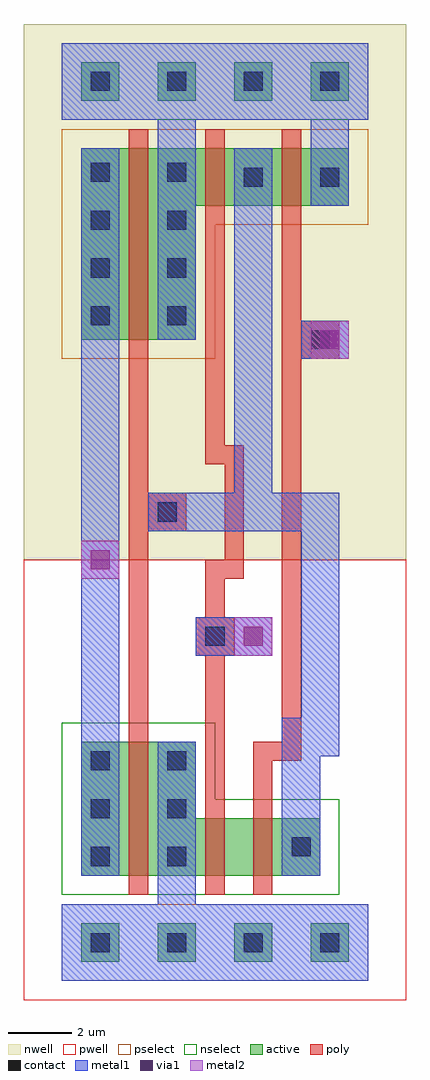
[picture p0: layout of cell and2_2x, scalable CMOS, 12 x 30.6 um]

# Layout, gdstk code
import gdstk
lib = gdstk.Library(unit=1e-6, precision=1e-09)
def R(c, l, rs):  # rectangles x0, y0, x1, y1
    for r in rs: c.add(gdstk.rectangle(r[:2], r[2:], *l))
def A(c, l, x, y, w, h, nx, ny, dx, dy):  # array of equal rectangles
    R(c, l, [(x+i*dx, y+j*dy, x+i*dx+w, y+j*dy+h) for i in range(nx) for j in range(ny)])
contact = (25, 0)
pwell = (41, 0)
nwell = (42, 0)
active = (43, 0)
pselect = (44, 0)
nselect = (45, 0)
poly = (46, 0)
metal1 = (49, 0)
via1 = (50, 0)
metal2 = (51, 0)

and2_2x = lib.new_cell('and2_2x')
A(and2_2x, contact, 0.3, -0.3, 0.6, 0.6, 4, 2, 2.4, 27)
A(and2_2x, contact, 0.3, 2.4, 0.6, 0.6, 1, 3, 0, 1.5)
A(and2_2x, contact, 2.7, 2.4, 0.6, 0.6, 1, 3, 0, 1.5)
A(and2_2x, contact, 0.3, 19.35, 0.6, 0.6, 1, 4, 0, 1.5)
A(and2_2x, contact, 2.7, 19.35, 0.6, 0.6, 1, 4, 0, 1.5)
R(and2_2x, contact, [(6.6,2.7,7.2,3.3), (3.9,9.3,4.5,9.9), (2.4,13.2,3,13.8), (7.2,18.6,7.8,19.2), (5.1,23.7,5.7,24.3), (7.5,23.7,8.1,24.3)])
A(and2_2x, pwell, -0.9, -1.5, 3, 3, 4, 1, 2.4, 0)
R(and2_2x, pwell, [(-1.8,-1.8,10.2,12), (-1.8,0.3,3,8.1), (-1.2,0.3,4.8,8.1), (0.6,0.3,5.4,8.1), (1.2,0.3,7.2,5.7), (2.7,0.3,8.7,5.7), (4.5,0.3,9.3,5.7), (2.325,0.75,7.575,5.25), (0.75,0.9,5.325,5.4), (4.575,0.9,9.15,5.4), (0.675,3,5.25,7.5), (-1.65,3.3,2.925,7.8)])
A(and2_2x, nwell, -0.9, 25.5, 3, 3, 4, 1, 2.4, 0)
R(and2_2x, nwell, [(-1.8,12,10.2,28.8), (-1.8,17.1,3,26.7), (-1.2,17.1,4.8,26.7), (0.6,17.1,5.4,26.7), (-1.65,17.7,2.925,22.2), (0.675,17.7,5.25,22.2), (0.75,21.3,5.325,25.8), (1.2,21.3,7.2,26.7), (3,21.3,7.8,26.7), (3.075,21.3,7.65,25.8), (3.15,21.3,7.65,26.7), (3.225,21.3,7.725,26.7), (3.6,21.3,9.6,26.7), (5.4,21.3,10.2,26.7), (3.15,22.2,7.725,26.7), (5.475,22.2,10.05,26.7)])
A(and2_2x, active, 0, -0.6, 1.2, 1.2, 4, 2, 2.4, 27)
R(and2_2x, active, [(0,2.1,1.2,6.3), (0.6,2.1,3,6.3), (2.4,2.1,3.6,6.3), (3,2.1,5.4,3.9), (4.5,2.1,6.9,3.9), (6.3,2.1,7.5,3.9), (4.125,2.55,5.775,3.45), (2.55,2.7,3.525,3.6), (6.375,2.7,7.35,3.6), (2.475,4.8,3.45,5.7), (0.15,5.1,1.125,6), (0,18.9,1.2,24.9), (0.6,18.9,3,24.9), (2.4,18.9,3.6,24.9), (0.15,19.5,1.125,20.4), (2.475,19.5,3.45,20.4), (2.55,23.1,3.525,24), (3,23.1,5.4,24.9), (4.8,23.1,6,24.9), (4.875,23.1,5.85,24), (4.95,23.1,5.85,24.9), (5.025,23.1,5.925,24.9), (5.4,23.1,7.8,24.9), (7.2,23.1,8.4,24.9), (4.95,24,5.925,24.9), (7.275,24,8.25,24.9)])
A(and2_2x, pselect, -0.6, -1.2, 2.4, 2.4, 4, 1, 2.4, 0)
R(and2_2x, pselect, [(-0.6,18.3,1.8,25.5), (0,18.3,3.6,25.5), (1.8,18.3,4.2,25.5), (-0.45,18.9,1.725,21), (1.875,18.9,4.05,21), (1.95,22.5,4.125,24.6), (2.4,22.5,6,25.5), (4.2,22.5,6.6,25.5), (4.275,22.5,6.45,24.6), (4.35,22.5,6.45,25.5), (4.425,22.5,6.525,25.5), (4.8,22.5,8.4,25.5), (6.6,22.5,9,25.5), (4.35,23.4,6.525,25.5), (6.675,23.4,8.85,25.5)])
A(and2_2x, nselect, -0.6, 25.8, 2.4, 2.4, 4, 1, 2.4, 0)
R(and2_2x, nselect, [(-0.6,1.5,1.8,6.9), (0,1.5,3.6,6.9), (1.8,1.5,4.2,6.9), (2.4,1.5,6,4.5), (3.9,1.5,7.5,4.5), (5.7,1.5,8.1,4.5), (3.525,1.95,6.375,4.05), (1.95,2.1,4.125,4.2), (5.775,2.1,7.95,4.2), (1.875,4.2,4.05,6.3), (-0.45,4.5,1.725,6.6)])
R(and2_2x, poly, [(1.5,1.5,2.1,6.9), (3.9,1.5,4.5,4.5), (5.4,1.5,6,4.5), (3.9,4.2,4.5,10.05), (5.4,4.2,6,6.3), (5.4,5.7,6.9,6.3), (6.3,5.7,6.9,19.2), (1.5,6.6,2.1,13.8), (3.6,9,4.8,10.2), (3.9,9.45,4.5,10.05), (3.9,9.45,4.5,12), (3.9,11.4,5.1,12), (4.5,11.4,5.1,15.6), (2.1,12.9,3.3,14.1), (1.5,13.2,2.1,18.6), (1.5,13.2,3,13.8), (3.9,15,4.5,22.8), (3.9,15,5.1,15.6), (1.5,18.3,2.1,25.5), (6.9,18.3,8.1,19.5), (6.3,18.6,7.8,19.2), (6.3,18.6,6.9,22.8), (3.9,22.5,4.5,25.5), (6.3,22.5,6.9,25.5)])
A(and2_2x, metal1, -0.6, -1.2, 4.8, 2.4, 3, 1, 2.4, 0)
A(and2_2x, metal1, 0, -0.6, 1.2, 1.2, 4, 2, 2.4, 27)
R(and2_2x, metal1, [(-0.6,-1.2,1.8,1.2), (-0.6,-1.2,4.2,1.2), (2.4,-0.6,3.6,3.3), (0,2.1,1.2,6.3), (2.4,2.1,3.6,6.3), (6.3,2.1,7.5,3.9), (6.3,2.7,7.5,7.05), (0,5.1,1.2,12.6), (6.3,5.85,8.1,7.05), (6.9,5.85,8.1,14.1), (3.6,9,4.8,10.2), (3.6,9,4.8,10.2), (3.6,9,6,10.2), (4.8,9,6,10.2), (0,11.4,1.2,12.6), (0,11.4,1.2,20.1), (2.1,12.9,3.3,14.1), (2.1,12.9,6,14.1), (4.8,12.9,6,24.3), (4.8,12.9,8.1,14.1), (6.9,18.3,8.1,19.5), (6.9,18.3,8.1,19.5), (7.2,18.3,8.4,19.5), (0,18.9,1.2,24.9), (2.4,18.9,3.6,24.9), (4.8,23.1,6,24.9), (7.2,23.1,8.4,24.9), (2.4,23.7,3.6,27.6), (7.2,23.7,8.4,27.6), (-0.6,25.8,1.8,28.2), (-0.6,25.8,4.2,28.2), (1.8,25.8,9,28.2), (0,26.4,1.2,27.6), (4.8,26.4,8.4,27.6), (7.2,26.4,8.4,27.6)])
R(and2_2x, via1, [(5.1,9.3,5.7,9.9), (0.3,11.7,0.9,12.3), (7.5,18.6,8.1,19.2)])
R(and2_2x, metal2, [(4.8,9,6,10.2), (0,11.4,1.2,12.6), (7.2,18.3,8.4,19.5)])

lib.write_gds('and2_2x.gds')
